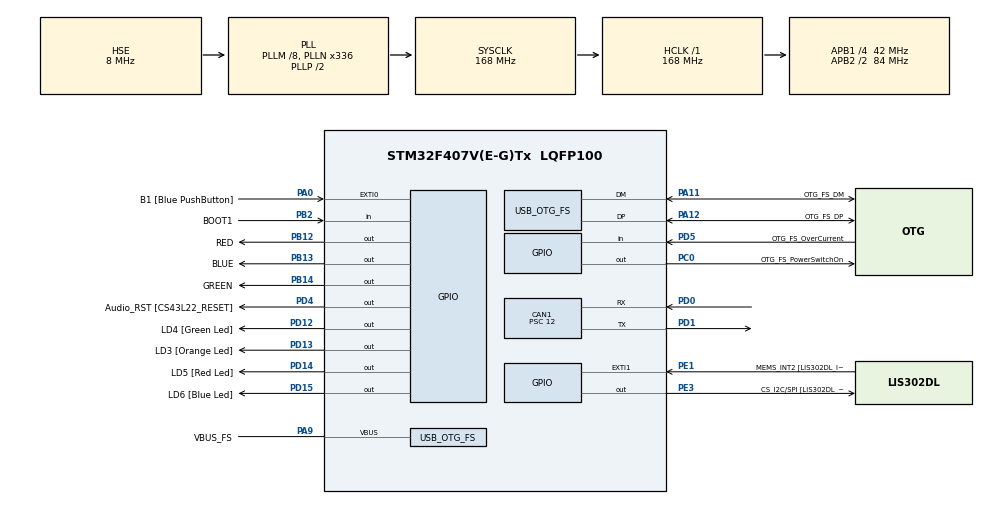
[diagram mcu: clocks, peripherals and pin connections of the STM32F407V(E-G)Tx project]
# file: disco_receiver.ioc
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CAN1.BS1=CAN_BS1_5TQ
CAN1.CalculateBaudRate=500000
CAN1.CalculateTimeBit=2000
CAN1.CalculateTimeQuantum=285.7142857142857
CAN1.Prescaler=12
Mcu.Family=STM32F4
Mcu.Name=STM32F407V(E-G)Tx
Mcu.Package=LQFP100
NVIC.CAN1_RX0_IRQn=true\:0\:0\:false\:false\:true\:true\:true\:true
NVIC.CAN1_TX_IRQn=true\:0\:0\:false\:false\:true\:true\:true\:true
NVIC.OTG_FS_IRQn=true\:0\:0\:false\:false\:true\:true\:true\:true
NVIC.PriorityGroup=NVIC_PRIORITYGROUP_0
PA0-WKUP.GPIO_Label=B1 [Blue PushButton]
PA0-WKUP.GPIO_ModeDefaultEXTI=GPIO_MODE_EVT_RISING
PA0-WKUP.GPIO_PuPd=GPIO_NOPULL
PA0-WKUP.Signal=GPXTI0
PA10.GPIO_Label=OTG_FS_ID
PA10.GPIO_Mode=GPIO_MODE_AF_PP
PA10.GPIO_PuPd=GPIO_NOPULL
PA10.GPIO_Speed=GPIO_SPEED_FREQ_LOW
PA10.Signal=USB_OTG_FS_ID
PA11.GPIO_Label=OTG_FS_DM
PA11.GPIO_Mode=GPIO_MODE_AF_PP
PA11.GPIO_PuPd=GPIO_NOPULL
PA11.GPIO_Speed=GPIO_SPEED_FREQ_LOW
PA11.Mode=Host_Only
PA11.Signal=USB_OTG_FS_DM
PA12.GPIO_Label=OTG_FS_DP
PA12.GPIO_Mode=GPIO_MODE_AF_PP
PA12.GPIO_PuPd=GPIO_NOPULL
PA12.GPIO_Speed=GPIO_SPEED_FREQ_LOW
PA12.Mode=Host_Only
PA12.Signal=USB_OTG_FS_DP
PA13.GPIO_Label=SWDIO
PA13.Mode=Serial_Wire
PA13.Signal=SYS_JTMS-SWDIO
PA14.GPIO_Label=SWCLK
PA14.Mode=Serial_Wire
PA14.Signal=SYS_JTCK-SWCLK
PA4.GPIO_Label=I2S3_WS [CS43L22_LRCK]
PA4.GPIO_Mode=GPIO_MODE_AF_PP
PA4.GPIO_PuPd=GPIO_NOPULL
PA4.GPIO_Speed=GPIO_SPEED_FREQ_LOW
PA4.Signal=I2S3_WS
PA5.GPIO_Label=SPI1_SCK [LIS302DL_SCL/SPC]
PA5.GPIO_Mode=GPIO_MODE_AF_PP
PA5.GPIO_PuPd=GPIO_NOPULL
PA5.GPIO_Speed=GPIO_SPEED_FREQ_LOW
PA5.Signal=SPI1_SCK
PA6.GPIO_Label=SPI1_MISO [LIS302DL_SDO]
PA6.GPIO_Mode=GPIO_MODE_AF_PP
PA6.GPIO_PuPd=GPIO_NOPULL
PA6.GPIO_Speed=GPIO_SPEED_FREQ_LOW
PA6.Signal=SPI1_MISO
PA7.GPIO_Label=SPI1_MOSI [LIS302DL_SDA/SDI/SDO]
PA7.GPIO_Mode=GPIO_MODE_AF_PP
PA7.GPIO_PuPd=GPIO_NOPULL
PA7.GPIO_Speed=GPIO_SPEED_FREQ_LOW
PA7.Signal=SPI1_MOSI
PA9.GPIO_Label=VBUS_FS
PA9.GPIO_Mode=GPIO_MODE_INPUT
PA9.GPIO_PuPd=GPIO_NOPULL
PA9.Mode=Activate_VBUS
PA9.Signal=USB_OTG_FS_VBUS
PB10.GPIO_Label=CLK_IN [MP45DT02_CLK]
PB10.GPIO_Mode=GPIO_MODE_AF_PP
PB10.GPIO_PuPd=GPIO_NOPULL
PB10.GPIO_Speed=GPIO_SPEED_FREQ_LOW
PB10.Signal=I2S2_CK
PB12.GPIO_Label=RED
PB12.Signal=GPIO_Output
PB13.GPIO_Label=BLUE
PB13.Signal=GPIO_Output
PB14.GPIO_Label=GREEN
PB14.Signal=GPIO_Output
PB2.GPIO_Label=BOOT1
PB2.GPIO_Mode=GPIO_MODE_INPUT
PB2.GPIO_PuPd=GPIO_NOPULL
PB2.Signal=GPIO_Input
PB3.GPIO_Label=SWO
PB3.Signal=SYS_JTDO-SWO
PB6.GPIO_Label=Audio_SCL [CS43L22_SCL]
PB6.GPIO_Mode=GPIO_MODE_AF_OD
PB6.GPIO_Pu=GPIO_PULLUP
PB6.GPIO_PuPd=GPIO_NOPULL
PB6.GPIO_Speed=GPIO_SPEED_FREQ_LOW
PB6.Signal=I2C1_SCL
PB9.GPIO_Label=Audio_SDA [CS43L22_SDA]
PB9.GPIO_Mode=GPIO_MODE_AF_OD
PB9.GPIO_Pu=GPIO_PULLUP
PB9.GPIO_PuPd=GPIO_NOPULL
PB9.GPIO_Speed=GPIO_SPEED_FREQ_LOW
PB9.Signal=I2C1_SDA
PC0.GPIO_Label=OTG_FS_PowerSwitchOn
PC0.GPIO_PuPd=GPIO_NOPULL
PC0.GPIO_Speed=GPIO_SPEED_FREQ_LOW
PC0.PinState=GPIO_PIN_SET
PC0.Signal=GPIO_Output
PC10.GPIO_Label=I2S3_SCK [CS43L22_SCLK]
PC10.GPIO_Mode=GPIO_MODE_AF_PP
PC10.GPIO_PuPd=GPIO_NOPULL
PC10.GPIO_Speed=GPIO_SPEED_FREQ_LOW
PC10.Signal=I2S3_CK
PC12.GPIO_Label=I2S3_SD [CS43L22_SDIN]
PC12.GPIO_Mode=GPIO_MODE_AF_PP
PC12.GPIO_PuPd=GPIO_NOPULL
PC12.GPIO_Speed=GPIO_SPEED_FREQ_LOW
PC12.Signal=I2S3_SD
PC14-OSC32_IN.GPIO_Label=PC14-OSC32_IN
PC14-OSC32_IN.Mode=LSE-External-Oscillator
PC14-OSC32_IN.Signal=RCC_OSC32_IN
PC15-OSC32_OUT.GPIO_Label=PC15-OSC32_OUT
PC15-OSC32_OUT.Mode=LSE-External-Oscillator
PC15-OSC32_OUT.Signal=RCC_OSC32_OUT
PC3.GPIO_Label=PDM_OUT [MP45DT02_DOUT]
PC3.GPIO_Mode=GPIO_MODE_AF_PP
PC3.GPIO_PuPd=GPIO_NOPULL
PC3.GPIO_Speed=GPIO_SPEED_FREQ_LOW
PC3.Signal=I2S2_SD
PC7.GPIO_Label=I2S3_MCK [CS43L22_MCLK]
PC7.GPIO_Mode=GPIO_MODE_AF_PP
PC7.GPIO_PuPd=GPIO_NOPULL
PC7.GPIO_Speed=GPIO_SPEED_FREQ_LOW
PC7.Signal=I2S3_MCK
PD0.Mode=CAN_Activate
PD0.Signal=CAN1_RX
PD1.Mode=CAN_Activate
PD1.Signal=CAN1_TX
PD12.GPIO_Label=LD4 [Green Led]
PD12.GPIO_PuPd=GPIO_NOPULL
PD12.GPIO_Speed=GPIO_SPEED_FREQ_LOW
PD12.Signal=GPIO_Output
PD13.GPIO_Label=LD3 [Orange Led]
PD13.GPIO_PuPd=GPIO_NOPULL
PD13.GPIO_Speed=GPIO_SPEED_FREQ_LOW
PD13.Signal=GPIO_Output
PD14.GPIO_Label=LD5 [Red Led]
PD14.GPIO_PuPd=GPIO_NOPULL
PD14.GPIO_Speed=GPIO_SPEED_FREQ_LOW
PD14.Signal=GPIO_Output
PD15.GPIO_Label=LD6 [Blue Led]
PD15.GPIO_PuPd=GPIO_NOPULL
PD15.GPIO_Speed=GPIO_SPEED_FREQ_LOW
PD15.Signal=GPIO_Output
PD4.GPIO_Label=Audio_RST [CS43L22_RESET]
PD4.GPIO_PuPd=GPIO_NOPULL
PD4.GPIO_Speed=GPIO_SPEED_FREQ_LOW
PD4.Signal=GPIO_Output
PD5.GPIO_Label=OTG_FS_OverCurrent
PD5.GPIO_Mode=GPIO_MODE_INPUT
PD5.GPIO_PuPd=GPIO_NOPULL
PD5.Signal=GPIO_Input
PE1.GPIO_Label=MEMS_INT2 [LIS302DL_INT2]
PE1.GPIO_ModeDefaultEXTI=GPIO_MODE_EVT_RISING
PE1.GPIO_PuPd=GPIO_NOPULL
PE1.Signal=GPXTI1
PE3.GPIO_Label=CS_I2C/SPI [LIS302DL_CS_I2C/SPI]
PE3.GPIO_PuPd=GPIO_NOPULL
PE3.GPIO_Speed=GPIO_SPEED_FREQ_LOW
PE3.Signal=GPIO_Output
PH0-OSC_IN.GPIO_Label=PH0-OSC_IN
PH0-OSC_IN.Mode=HSE-External-Oscillator
PH0-OSC_IN.Signal=RCC_OSC_IN
PH1-OSC_OUT.GPIO_Label=PH1-OSC_OUT
PH1-OSC_OUT.Mode=HSE-External-Oscillator
PH1-OSC_OUT.Signal=RCC_OSC_OUT
ProjectManager.HeapSize=0x200
ProjectManager.StackSize=0x400
ProjectManager.TargetToolchain=Makefile
RCC.48MHZClocksFreq_Value=48000000
RCC.AHBFreq_Value=168000000
RCC.APB1CLKDivider=RCC_HCLK_DIV4
RCC.APB1Freq_Value=42000000
RCC.APB1TimFreq_Value=84000000
RCC.APB2CLKDivider=RCC_HCLK_DIV2
RCC.APB2Freq_Value=84000000
RCC.APB2TimFreq_Value=168000000
RCC.CortexFreq_Value=168000000
RCC.HCLKFreq_Value=168000000
RCC.HSE_VALUE=8000000
RCC.HSI_VALUE=16000000
RCC.PLLM=8
RCC.PLLN=336
RCC.PLLQ=7
RCC.SYSCLKFreq_VALUE=168000000
RCC.SYSCLKSource=RCC_SYSCLKSOURCE_PLLCLK
RCC.VCOOutputFreq_Value=336000000
USB_HOST.BSP.number=1
USB_HOST.USBH_HandleTypeDef-CDC_FS=hUsbHostFS
USB_HOST.VirtualModeFS=Cdc
USB_HOST0.BSP.STBoard=false
USB_HOST0.BSP.api=Unknown
USB_HOST0.BSP.instance=PC0
USB_HOST0.BSP.ip=GPIO
USB_HOST0.BSP.mode=Output
USB_HOST0.BSP.name=Drive_VBUS_FS
USB_HOST0.BSP.solution=PC0
USB_OTG_FS.VirtualMode=Host_Only
USB_OTG_FS.phy_itface=HCD_PHY_EMBEDDED
VP_USB_HOST_VS_USB_HOST_CDC_FS.Mode=CDC_FS
board=STM32F407G-DISC1

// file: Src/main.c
/* USER CODE BEGIN Header */
/**
  ******************************************************************************
  * @file           : main.c
  * @brief          : Main program body
  ******************************************************************************
  * @attention
  *
  * Copyright (c) 2022 STMicroelectronics.
  * All rights reserved.
  *
  * This software is licensed under terms that can be found in the LICENSE file
  * in the root directory of this software component.
  * If no LICENSE file comes with this software, it is provided AS-IS.
  *
  ******************************************************************************
  */
/* USER CODE END Header */
#include "main.h"
#include "can.h"
#include "usb_host.h"
#include "gpio.h"

/* USER CODE BEGIN PV */
CAN_TxHeaderTypeDef TxHeader;
CAN_RxHeaderTypeDef RxHeader;
uint8_t TxData[8];
uint8_t RxData[8];
uint32_t TxMailbox;

/* USER CODE END PV */

void SystemClock_Config(void);
void MX_USB_HOST_Process(void);

/* USER CODE BEGIN PFP */
void modifyData(uint32_t id, uint32_t len, uint8_t byte0, uint8_t byte1, uint8_t
 byte2, uint8_t byte3,
                uint8_t byte4, uint8_t byte5, uint8_t byte6, uint8_t byte7)
{
  TxHeader.ExtId = id;
  TxHeader.IDE = CAN_ID_EXT;
  TxHeader.RTR = CAN_RTR_DATA;
  TxHeader.DLC = len;
  TxHeader.TransmitGlobalTime = DISABLE;
  TxData[0] = byte0;
  TxData[1] = byte1;
  TxData[2] = byte2;
  TxData[3] = byte3;
  TxData[4] = byte4;
  TxData[5] = byte5;
  TxData[6] = byte6;
  TxData[7] = byte7;
}

void handleData(uint32_t id, uint8_t* data)
{
  if (id == 1)
  {

  }
}

/* USER CODE END PFP */

int main(void)
{

  /* MCU Configuration--------------------------------------------------------*/

  /* Reset of all peripherals, Initializes the Flash interface and the Systick. */
  HAL_Init();

  /* Configure the system clock */
  SystemClock_Config();

  /* Initialize all configured peripherals */
  MX_GPIO_Init();
  MX_CAN1_Init();
  MX_USB_HOST_Init();

  /* Infinite loop */
  while (1)
  {
    MX_USB_HOST_Process();

  }
}

void SystemClock_Config(void)
{
  RCC_OscInitTypeDef RCC_OscInitStruct = {0};
  RCC_ClkInitTypeDef RCC_ClkInitStruct = {0};

  /** Configure the main internal regulator output voltage
  */
  __HAL_RCC_PWR_CLK_ENABLE();
  __HAL_PWR_VOLTAGESCALING_CONFIG(PWR_REGULATOR_VOLTAGE_SCALE1);

  /** Initializes the RCC Oscillators according to the specified parameters
  * in the RCC_OscInitTypeDef structure.
  */
  RCC_OscInitStruct.OscillatorType = RCC_OSCILLATORTYPE_HSE;
  RCC_OscInitStruct.HSEState = RCC_HSE_ON;
  RCC_OscInitStruct.PLL.PLLState = RCC_PLL_ON;
  RCC_OscInitStruct.PLL.PLLSource = RCC_PLLSOURCE_HSE;
  RCC_OscInitStruct.PLL.PLLM = 8;
  RCC_OscInitStruct.PLL.PLLN = 336;
  RCC_OscInitStruct.PLL.PLLP = RCC_PLLP_DIV2;
  RCC_OscInitStruct.PLL.PLLQ = 7;
  if (HAL_RCC_OscConfig(&RCC_OscInitStruct) != HAL_OK)
  {
    Error_Handler();
  }

  /** Initializes the CPU, AHB and APB buses clocks
  */
  RCC_ClkInitStruct.ClockType = RCC_CLOCKTYPE_HCLK|RCC_CLOCKTYPE_SYSCLK
                              |RCC_CLOCKTYPE_PCLK1|RCC_CLOCKTYPE_PCLK2;
  RCC_ClkInitStruct.SYSCLKSource = RCC_SYSCLKSOURCE_PLLCLK;
  RCC_ClkInitStruct.AHBCLKDivider = RCC_SYSCLK_DIV1;
  RCC_ClkInitStruct.APB1CLKDivider = RCC_HCLK_DIV4;
  RCC_ClkInitStruct.APB2CLKDivider = RCC_HCLK_DIV2;

  if (HAL_RCC_ClockConfig(&RCC_ClkInitStruct, FLASH_LATENCY_5) != HAL_OK)
  {
    Error_Handler();
  }
}

/* USER CODE BEGIN 4 */
void HAL_CAN_TxMailbox0CompleteCallback(CAN_HandleTypeDef *hcans)
{
}

void HAL_CAN_RxFifo0MsgPendingCallback(CAN_HandleTypeDef *hcans)
{
  HAL_CAN_GetRxMessage(hcans, CAN_RX_FIFO0, &RxHeader, RxData);
}

/* USER CODE END 4 */

void Error_Handler(void)
{
  __disable_irq();
  while (1)
  {
  }
}
